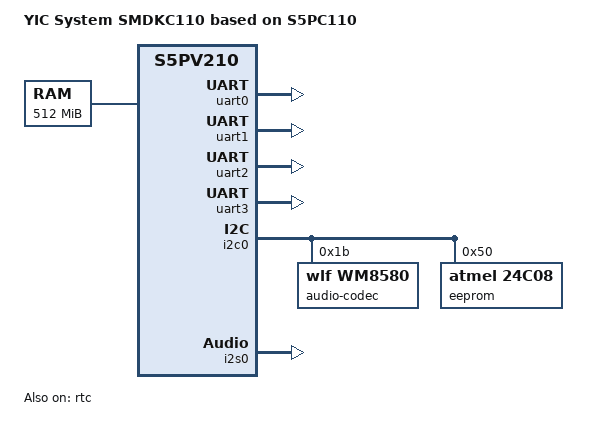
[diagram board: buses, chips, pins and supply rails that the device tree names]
// SPDX-License-Identifier: GPL-2.0
/*
 * Samsung's S5PV210 SoC device tree source
 *
 * Copyright (c) 2013-2014 Samsung Electronics, Co. Ltd.
 *
 * Mateusz Krawczuk <m.krawczuk@partner.samsung.com>
 * Tomasz Figa <t.figa@samsung.com>
 *
 * Board device tree source for YIC System SMDC110 board.
 *
 * NOTE: This file is completely based on original board file for mach-smdkc110
 * available in Linux 3.15 and intends to provide equivalent level of hardware
 * support. Due to lack of hardware, _no_ testing has been performed.
 */

/dts-v1/;
#include <dt-bindings/input/input.h>
#include "s5pv210.dtsi"

/ {
	model = "YIC System SMDKC110 based on S5PC110";
	compatible = "yic,smdkc110", "samsung,s5pv210";

	chosen {
		bootargs = "console=ttySAC0,115200n8 root=/dev/mmcblk0p1 rw rootwait ignore_loglevel earlyprintk";
	};

	memory@20000000 {
		device_type = "memory";
		reg = <0x20000000 0x20000000>;
	};
};

&xusbxti {
	clock-frequency = <24000000>;
};

&uart0 {
	status = "okay";
};

&uart1 {
	status = "okay";
};

&uart2 {
	status = "okay";
};

&uart3 {
	status = "okay";
};

&rtc {
	status = "okay";
};

&i2c0 {
	status = "okay";

	audio-codec@1b {
		compatible = "wlf,wm8580";
		reg = <0x1b>;
	};

	eeprom@50 {
		compatible = "atmel,24c08";
		reg = <0x50>;
	};
};

&i2s0 {
	status = "okay";
};
